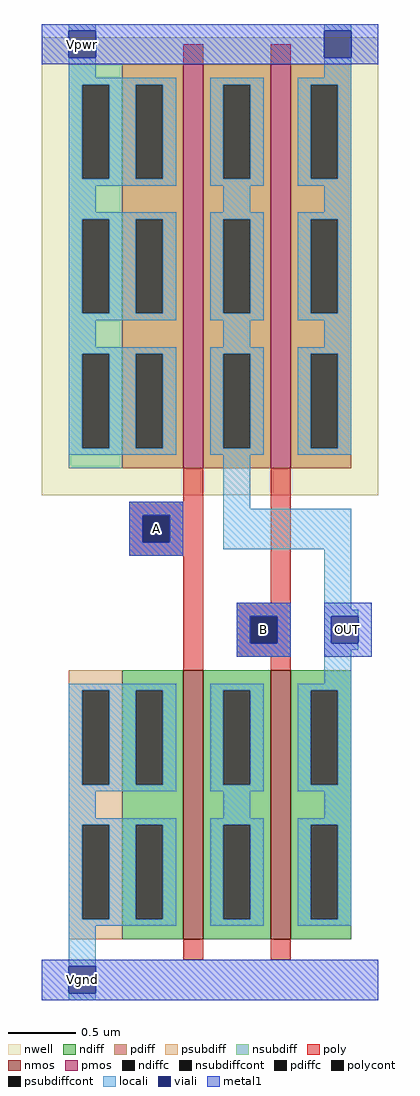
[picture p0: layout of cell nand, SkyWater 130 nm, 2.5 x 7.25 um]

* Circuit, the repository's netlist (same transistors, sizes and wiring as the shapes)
* NGSPICE file created from nand.ext - technology: sky130A

.subckt nand A OUT Vpwr Vgnd B
X0 OUT A Vpwr Vpwr sky130_fd_pr__pfet_01v8 ad=0.75 pd=3.5 as=1.35 ps=6.9 w=3 l=0.15
X1 OUT B a_30_n300# Vgnd sky130_fd_pr__nfet_01v8 ad=0.9 pd=4.9 as=0.5 ps=2.5 w=2 l=0.15
X2 Vpwr B OUT Vpwr sky130_fd_pr__pfet_01v8 ad=1.35 pd=6.9 as=0.75 ps=3.5 w=3 l=0.15
X3 a_30_n300# A Vgnd Vgnd sky130_fd_pr__nfet_01v8 ad=0.5 pd=2.5 as=0.9 ps=4.9 w=2 l=0.15
.ends

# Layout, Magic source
magic
tech sky130A
<< nwell >>
rect -105 180 145 520
<< nmos >>
rect 0 -150 15 50
rect 65 -150 80 50
<< pmos >>
rect 0 200 15 500
rect 65 200 80 500
<< ndiff >>
rect -45 35 0 50
rect -45 -35 -35 35
rect -15 -35 0 35
rect -45 -65 0 -35
rect -45 -135 -35 -65
rect -15 -135 0 -65
rect -45 -150 0 -135
rect 15 35 65 50
rect 15 -35 30 35
rect 50 -35 65 35
rect 15 -65 65 -35
rect 15 -135 30 -65
rect 50 -135 65 -65
rect 15 -150 65 -135
rect 80 35 125 50
rect 80 -35 95 35
rect 115 -35 125 35
rect 80 -65 125 -35
rect 80 -135 95 -65
rect 115 -135 125 -65
rect 80 -150 125 -135
<< pdiff >>
rect -45 485 0 500
rect -45 415 -35 485
rect -15 415 0 485
rect -45 385 0 415
rect -45 315 -35 385
rect -15 315 0 385
rect -45 285 0 315
rect -45 215 -35 285
rect -15 215 0 285
rect -45 200 0 215
rect 15 485 65 500
rect 15 415 30 485
rect 50 415 65 485
rect 15 385 65 415
rect 15 315 30 385
rect 50 315 65 385
rect 15 285 65 315
rect 15 215 30 285
rect 50 215 65 285
rect 15 200 65 215
rect 80 485 125 500
rect 80 415 95 485
rect 115 415 125 485
rect 80 385 125 415
rect 80 315 95 385
rect 115 315 125 385
rect 80 285 125 315
rect 80 215 95 285
rect 115 215 125 285
rect 80 200 125 215
<< ndiffc >>
rect -35 -35 -15 35
rect -35 -135 -15 -65
rect 30 -35 50 35
rect 30 -135 50 -65
rect 95 -35 115 35
rect 95 -135 115 -65
<< pdiffc >>
rect -35 415 -15 485
rect -35 315 -15 385
rect -35 215 -15 285
rect 30 415 50 485
rect 30 315 50 385
rect 30 215 50 285
rect 95 415 115 485
rect 95 315 115 385
rect 95 215 115 285
<< psubdiff >>
rect -85 35 -45 50
rect -85 -35 -75 35
rect -55 -35 -45 35
rect -85 -65 -45 -35
rect -85 -135 -75 -65
rect -55 -135 -45 -65
rect -85 -150 -45 -135
<< nsubdiff >>
rect -85 485 -45 500
rect -85 415 -75 485
rect -55 415 -45 485
rect -85 385 -45 415
rect -85 315 -75 385
rect -55 315 -45 385
rect -85 285 -45 315
rect -85 215 -75 285
rect -55 215 -45 285
rect -85 200 -45 215
<< psubdiffcont >>
rect -75 -35 -55 35
rect -75 -135 -55 -65
<< nsubdiffcont >>
rect -75 415 -55 485
rect -75 315 -55 385
rect -75 215 -55 285
<< poly >>
rect 0 500 15 515
rect 65 500 80 515
rect 0 175 15 200
rect -40 165 15 175
rect -40 145 -30 165
rect -10 145 15 165
rect -40 135 15 145
rect 0 50 15 135
rect 65 100 80 200
rect 40 90 80 100
rect 40 70 50 90
rect 70 70 80 90
rect 40 60 80 70
rect 65 50 80 60
rect 0 -165 15 -150
rect 65 -165 80 -150
<< polycont >>
rect -30 145 -10 165
rect 50 70 70 90
<< locali >>
rect -85 525 -65 530
rect -85 490 -65 505
rect 105 525 125 530
rect 105 490 125 505
rect -85 485 -5 490
rect -85 415 -75 485
rect -55 415 -35 485
rect -15 415 -5 485
rect -85 410 -5 415
rect 20 485 60 490
rect 20 415 30 485
rect 50 415 60 485
rect 20 410 60 415
rect 85 485 125 490
rect 85 415 95 485
rect 115 415 125 485
rect 85 410 125 415
rect -85 390 -65 410
rect 30 390 50 410
rect 105 390 125 410
rect -85 385 -5 390
rect -85 315 -75 385
rect -55 315 -35 385
rect -15 315 -5 385
rect -85 310 -5 315
rect 20 385 60 390
rect 20 315 30 385
rect 50 315 60 385
rect 20 310 60 315
rect 85 385 125 390
rect 85 315 95 385
rect 115 315 125 385
rect 85 310 125 315
rect -85 290 -65 310
rect 30 290 50 310
rect 105 290 125 310
rect -85 285 -5 290
rect -85 215 -75 285
rect -55 215 -35 285
rect -15 215 -5 285
rect -85 210 -5 215
rect 20 285 60 290
rect 20 215 30 285
rect 50 215 60 285
rect 20 210 60 215
rect 85 285 125 290
rect 85 215 95 285
rect 115 215 125 285
rect 85 210 125 215
rect -40 165 0 175
rect -40 145 -30 165
rect -10 145 0 165
rect -40 135 0 145
rect 30 170 50 210
rect 30 140 125 170
rect 40 90 80 100
rect 40 70 50 90
rect 70 70 80 90
rect 40 60 80 70
rect 105 95 125 140
rect 105 90 130 95
rect 105 70 110 90
rect 105 65 130 70
rect 105 40 125 65
rect -85 35 -5 40
rect -85 -35 -75 35
rect -55 -35 -35 35
rect -15 -35 -5 35
rect -85 -40 -5 -35
rect 20 35 60 40
rect 20 -35 30 35
rect 50 -35 60 35
rect 20 -40 60 -35
rect 85 35 125 40
rect 85 -35 95 35
rect 115 -35 125 35
rect 85 -40 125 -35
rect -85 -60 -65 -40
rect 30 -60 50 -40
rect 105 -60 125 -40
rect -85 -65 -5 -60
rect -85 -135 -75 -65
rect -55 -135 -35 -65
rect -15 -135 -5 -65
rect -85 -140 -5 -135
rect 20 -65 60 -60
rect 20 -135 30 -65
rect 50 -135 60 -65
rect 20 -140 60 -135
rect 85 -65 125 -60
rect 85 -135 95 -65
rect 115 -135 125 -65
rect 85 -140 125 -135
rect -85 -170 -65 -140
rect -85 -195 -65 -190
<< viali >>
rect -85 505 -65 525
rect 105 505 125 525
rect -30 145 -10 165
rect 50 70 70 90
rect 110 70 130 90
rect -85 -190 -65 -170
<< metal1 >>
rect -105 525 145 530
rect -105 505 -85 525
rect -65 505 105 525
rect 125 505 145 525
rect -105 500 145 505
rect -40 165 0 175
rect -40 145 -30 165
rect -10 145 0 165
rect -40 135 0 145
rect 40 90 80 100
rect 40 70 50 90
rect 70 70 80 90
rect 40 60 80 70
rect 105 90 140 100
rect 105 70 110 90
rect 130 70 140 90
rect 105 60 140 70
rect -105 -170 145 -165
rect -105 -190 -85 -170
rect -65 -190 145 -170
rect -105 -195 145 -190
<< labels >>
flabel viali -85 -190 -65 -170 1 FreeSans 200 0 0 0 Vgnd
port 4 n
flabel viali -85 505 -65 525 1 FreeSans 200 0 0 0 Vpwr
port 3 n
flabel metal1 105 60 140 100 1 FreeSans 200 0 0 0 OUT
port 2 n
flabel metal1 40 60 80 100 1 FreeSans 200 0 0 0 B
port 5 n
flabel metal1 -40 135 0 175 1 FreeSans 200 0 0 0 A
port 1 n
<< end >>
